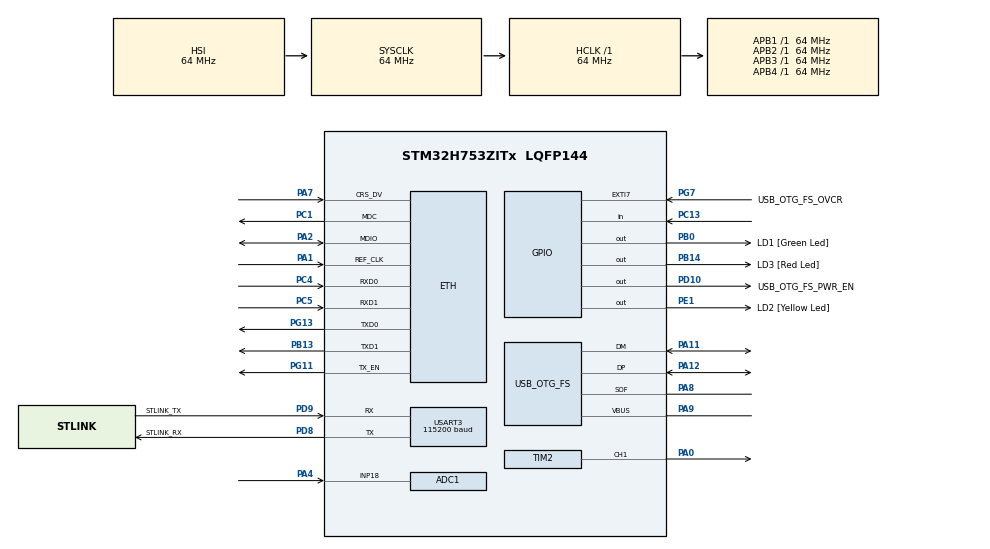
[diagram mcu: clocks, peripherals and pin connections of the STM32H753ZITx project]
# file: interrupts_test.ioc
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ADC1.Channel-4\#ChannelRegularConversion=ADC_CHANNEL_18
ADC1.ClockPrescaler=ADC_CLOCK_ASYNC_DIV4
ADC1.ExternalTrigConv=ADC_EXTERNALTRIG_T3_TRGO
ADC1.NbrOfConversionFlag=1
ADC1.OffsetNumber-4\#ChannelRegularConversion=ADC_OFFSET_NONE
ADC1.OffsetSignedSaturation-4\#ChannelRegularConversion=DISABLE
ADC1.Overrun=ADC_OVR_DATA_OVERWRITTEN
ADC1.Rank-4\#ChannelRegularConversion=1
ADC1.Resolution=ADC_RESOLUTION_8B
ADC1.SamplingTime-4\#ChannelRegularConversion=ADC_SAMPLETIME_1CYCLE_5
ADC1.master=1
CORTEX_M7.CPU_DCache=Disabled
CORTEX_M7.CPU_ICache=Disabled
CORTEX_M7.MPU_Control=__NULL
ETH.ETH_RX_DESC_CNT=4
ETH.ETH_TX_DESC_CNT=4
ETH.MACAddr=00\:80\:E1\:00\:00\:00
ETH.MediaInterface=HAL_ETH_RMII_MODE
ETH.RxBuffAddress=0x30040200
ETH.RxBuffLen=1524
ETH.RxDescAddress=0x30040000
ETH.TxDescAddress=0x30040060
Mcu.Family=STM32H7
Mcu.Name=STM32H753ZITx
Mcu.Package=LQFP144
NVIC.ADC_IRQn=true\:0\:0\:false\:false\:true\:true\:true\:true
NVIC.PriorityGroup=NVIC_PRIORITYGROUP_4
NVIC.TIM2_IRQn=true\:0\:0\:false\:false\:true\:true\:true\:true
NVIC.TIM6_DAC_IRQn=true\:0\:0\:false\:false\:true\:true\:true\:true
PA0.GPIO_Speed=GPIO_SPEED_FREQ_VERY_HIGH
PA0.Signal=S_TIM2_CH1_ETR
PA1.Mode=RMII
PA1.Signal=ETH_REF_CLK
PA11.Mode=Device_Only
PA11.Signal=USB_OTG_FS_DM
PA12.Mode=Device_Only
PA12.Signal=USB_OTG_FS_DP
PA2.Mode=RMII
PA2.Signal=ETH_MDIO
PA4.Signal=ADCx_INP18
PA7.Mode=RMII
PA7.Signal=ETH_CRS_DV
PA8.Mode=Activate_SOF_FS
PA8.Signal=USB_OTG_FS_SOF
PA9.Mode=Activate_VBUS
PA9.Signal=USB_OTG_FS_VBUS
PB0.GPIO_Label=LD1 [Green Led]
PB0.Signal=GPIO_Output
PB13.Mode=RMII
PB13.Signal=ETH_TXD1
PB14.GPIO_Label=LD3 [Red Led]
PB14.Signal=GPIO_Output
PC1.Mode=RMII
PC1.Signal=ETH_MDC
PC13.Signal=GPIO_Input
PC14-OSC32_IN\ (OSC32_IN).Mode=LSE-External-Oscillator
PC14-OSC32_IN\ (OSC32_IN).Signal=RCC_OSC32_IN
PC15-OSC32_OUT\ (OSC32_OUT).Mode=LSE-External-Oscillator
PC15-OSC32_OUT\ (OSC32_OUT).Signal=RCC_OSC32_OUT
PC4.Mode=RMII
PC4.Signal=ETH_RXD0
PC5.Mode=RMII
PC5.Signal=ETH_RXD1
PD10.GPIO_Label=USB_OTG_FS_PWR_EN
PD10.Signal=GPIO_Output
PD8.GPIO_Label=STLINK_RX
PD8.Mode=Asynchronous
PD8.Signal=USART3_TX
PD9.GPIO_Label=STLINK_TX
PD9.Mode=Asynchronous
PD9.Signal=USART3_RX
PE1.GPIO_Label=LD2 [Yellow Led]
PE1.Signal=GPIO_Output
PG11.Mode=RMII
PG11.Signal=ETH_TX_EN
PG13.Mode=RMII
PG13.Signal=ETH_TXD0
PG7.GPIO_Label=USB_OTG_FS_OVCR
PG7.Signal=GPXTI7
PH0-OSC_IN\ (PH0).Mode=HSE-External-Clock-Source
PH0-OSC_IN\ (PH0).Signal=RCC_OSC_IN
PH1-OSC_OUT\ (PH1).Signal=RCC_OSC_OUT
ProjectManager.HeapSize=0x200
ProjectManager.StackSize=0x400
ProjectManager.TargetToolchain=Makefile
RCC.ADCFreq_Value=76000000
RCC.APB1Freq_Value=64000000
RCC.APB2Freq_Value=64000000
RCC.APB3Freq_Value=64000000
RCC.APB4Freq_Value=64000000
RCC.CortexFreq_Value=64000000
RCC.DIVM1=1
RCC.DIVM2=1
RCC.DIVN1=24
RCC.DIVN2=19
RCC.DIVQ1=4
RCC.HCLKFreq_Value=64000000
RCC.HSE_VALUE=8000000
RCC.PLLFRACN=0
RCC.PWR_Regulator_Voltage_Scale=PWR_REGULATOR_VOLTAGE_SCALE2
RCC.SYSCLKFreq_VALUE=64000000
RCC.USBFreq_Value=48000000
SH.ADCx_INP18.0=ADC1_INP18,IN18-Single-Ended
SH.S_TIM2_CH1_ETR.0=TIM2_CH1,PWM Generation1 CH1
TIM2.AutoReloadPreload=TIM_AUTORELOAD_PRELOAD_DISABLE
TIM2.Channel-PWM\ Generation1\ CH1=TIM_CHANNEL_1
TIM2.Period=49
TIM2.Prescaler=6399
TIM2.Pulse-PWM\ Generation1\ CH1=25
TIM3.Period=999
TIM3.Prescaler=6399
TIM3.TIM_MasterOutputTrigger=TIM_TRGO_UPDATE
TIM3.TIM_MasterSlaveMode=TIM_MASTERSLAVEMODE_ENABLE
TIM6.Period=4999
TIM6.Prescaler=6399
USART3.AutoBaudRateEnableParam=UART_ADVFEATURE_AUTOBAUDRATE_DISABLE
USART3.BaudRate=115200
USART3.ClockPrescaler=PRESCALER_DIV1
USART3.DMADisableonRxErrorParam=ADVFEATURE_DMA_ENABLEONRXERROR
USART3.DataInvertParam=ADVFEATURE_DATAINV_DISABLE
USART3.FIFOMode=FIFOMODE_DISABLE
USART3.MSBFirstParam=ADVFEATURE_MSBFIRST_DISABLE
USART3.Mode=MODE_TX_RX
USART3.OneBitSampling=UART_ONE_BIT_SAMPLE_DISABLE
USART3.OverSampling=UART_OVERSAMPLING_16
USART3.OverrunDisableParam=ADVFEATURE_OVERRUN_ENABLE
USART3.Parity=PARITY_NONE
USART3.RXFIFOThreshold=RXFIFO_THRESHOLD_1EIGHTHFULL
USART3.RxPinLevelInvertParam=ADVFEATURE_RXINV_DISABLE
USART3.StopBits=STOPBITS_1
USART3.SwapParam=ADVFEATURE_SWAP_DISABLE
USART3.TXFIFOThreshold=TXFIFO_THRESHOLD_1EIGHTHFULL
USART3.TxPinLevelInvertParam=ADVFEATURE_TXINV_DISABLE
USART3.VirtualMode-Asynchronous=VM_ASYNC
USART3.WordLength=WORDLENGTH_8B
USB_OTG_FS.Sof_enable=ENABLE
USB_OTG_FS.VirtualMode=Device_Only
USB_OTG_FS.battery_charging_enable=ENABLE
USB_OTG_FS.low_power_enable=DISABLE
USB_OTG_FS.lpm_enable=DISABLE
USB_OTG_FS.use_dedicated_ep1=DISABLE
USB_OTG_FS.vbus_sensing_enable=ENABLE
VP_TIM2_VS_ClockSourceINT.Mode=Internal
VP_TIM3_VS_ClockSourceINT.Mode=Internal
VP_TIM6_VS_ClockSourceINT.Mode=Enable_Timer
board=NUCLEO-H753ZI

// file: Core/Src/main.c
/* USER CODE BEGIN Header */
/**
  ******************************************************************************
  * @file           : main.c
  * @brief          : Main program body
  ******************************************************************************
  * @attention
  *
  * Copyright (c) 2025 STMicroelectronics.
  * All rights reserved.
  *
  * This software is licensed under terms that can be found in the LICENSE file
  * in the root directory of this software component.
  * If no LICENSE file comes with this software, it is provided AS-IS.
  *
  ******************************************************************************
  */
/* USER CODE END Header */
#include "main.h"
#include "string.h"

/* USER CODE BEGIN Includes */
#include <stdint.h>
#include <stdbool.h>
/* USER CODE END Includes */

#if defined ( __ICCARM__ ) /*!< IAR Compiler */
#pragma location=0x30040000
ETH_DMADescTypeDef  DMARxDscrTab[ETH_RX_DESC_CNT]; /* Ethernet Rx DMA Descriptors */
#pragma location=0x30040060
ETH_DMADescTypeDef  DMATxDscrTab[ETH_TX_DESC_CNT]; /* Ethernet Tx DMA Descriptors */

#elif defined ( __CC_ARM )  /* MDK ARM Compiler */

__attribute__((at(0x30040000))) ETH_DMADescTypeDef  DMARxDscrTab[ETH_RX_DESC_CNT]; /* Ethernet Rx DMA Descriptors */
__attribute__((at(0x30040060))) ETH_DMADescTypeDef  DMATxDscrTab[ETH_TX_DESC_CNT]; /* Ethernet Tx DMA Descriptors */

#elif defined ( __GNUC__ ) /* GNU Compiler */

ETH_DMADescTypeDef DMARxDscrTab[ETH_RX_DESC_CNT] __attribute__((section(".RxDecripSection"))); /* Ethernet Rx DMA Descriptors */
ETH_DMADescTypeDef DMATxDscrTab[ETH_TX_DESC_CNT] __attribute__((section(".TxDecripSection")));   /* Ethernet Tx DMA Descriptors */
#endif

ETH_TxPacketConfig TxConfig;

ADC_HandleTypeDef hadc1;

ETH_HandleTypeDef heth;

TIM_HandleTypeDef htim2;
TIM_HandleTypeDef htim3;
TIM_HandleTypeDef htim6;

UART_HandleTypeDef huart3;

PCD_HandleTypeDef hpcd_USB_OTG_FS;

/* USER CODE BEGIN PV */
static uint8_t duty_cycle = 25;
/* USER CODE END PV */

void SystemClock_Config(void);
static void MX_GPIO_Init(void);
static void MX_ETH_Init(void);
static void MX_USART3_UART_Init(void);
static void MX_USB_OTG_FS_PCD_Init(void);
static void MX_TIM2_Init(void);
static void MX_TIM6_Init(void);
static void MX_ADC1_Init(void);
static void MX_TIM3_Init(void);

int main(void)
{

  /* MCU Configuration--------------------------------------------------------*/

  /* Reset of all peripherals, Initializes the Flash interface and the Systick. */
  HAL_Init();

  /* Configure the system clock */
  SystemClock_Config();

  /* Initialize all configured peripherals */
  MX_GPIO_Init();
  MX_ETH_Init();
  MX_USART3_UART_Init();
  MX_USB_OTG_FS_PCD_Init();
  MX_TIM2_Init();
  MX_TIM6_Init();
  MX_ADC1_Init();
  MX_TIM3_Init();
  /* USER CODE BEGIN 2 */
  HAL_TIM_Base_Start_IT(&htim6);
  HAL_TIM_PWM_Start(&htim2, TIM_CHANNEL_1);

  HAL_ADCEx_Calibration_Start(&hadc1, ADC_CALIB_OFFSET, ADC_SINGLE_ENDED);
  HAL_StatusTypeDef rc = HAL_ADC_Start_IT(&hadc1);
  while (rc != HAL_OK) {
    rc = HAL_ADC_Start_IT(&hadc1);
  }

  HAL_TIM_Base_Start(&htim3);
  /* USER CODE END 2 */

  /* Infinite loop */
  while (1)
  {

  }
}

void SystemClock_Config(void)
{
  RCC_OscInitTypeDef RCC_OscInitStruct = {0};
  RCC_ClkInitTypeDef RCC_ClkInitStruct = {0};

  /** Supply configuration update enable
  */
  HAL_PWREx_ConfigSupply(PWR_LDO_SUPPLY);

  /** Configure the main internal regulator output voltage
  */
  __HAL_PWR_VOLTAGESCALING_CONFIG(PWR_REGULATOR_VOLTAGE_SCALE2);

  while(!__HAL_PWR_GET_FLAG(PWR_FLAG_VOSRDY)) {}

  /** Initializes the RCC Oscillators according to the specified parameters
  * in the RCC_OscInitTypeDef structure.
  */
  RCC_OscInitStruct.OscillatorType = RCC_OSCILLATORTYPE_HSI|RCC_OSCILLATORTYPE_HSE;
  RCC_OscInitStruct.HSEState = RCC_HSE_BYPASS;
  RCC_OscInitStruct.HSIState = RCC_HSI_DIV1;
  RCC_OscInitStruct.HSICalibrationValue = RCC_HSICALIBRATION_DEFAULT;
  RCC_OscInitStruct.PLL.PLLState = RCC_PLL_ON;
  RCC_OscInitStruct.PLL.PLLSource = RCC_PLLSOURCE_HSE;
  RCC_OscInitStruct.PLL.PLLM = 1;
  RCC_OscInitStruct.PLL.PLLN = 24;
  RCC_OscInitStruct.PLL.PLLP = 2;
  RCC_OscInitStruct.PLL.PLLQ = 4;
  RCC_OscInitStruct.PLL.PLLR = 2;
  RCC_OscInitStruct.PLL.PLLRGE = RCC_PLL1VCIRANGE_3;
  RCC_OscInitStruct.PLL.PLLVCOSEL = RCC_PLL1VCOWIDE;
  RCC_OscInitStruct.PLL.PLLFRACN = 0;
  if (HAL_RCC_OscConfig(&RCC_OscInitStruct) != HAL_OK)
  {
    Error_Handler();
  }

  /** Initializes the CPU, AHB and APB buses clocks
  */
  RCC_ClkInitStruct.ClockType = RCC_CLOCKTYPE_HCLK|RCC_CLOCKTYPE_SYSCLK
                              |RCC_CLOCKTYPE_PCLK1|RCC_CLOCKTYPE_PCLK2
                              |RCC_CLOCKTYPE_D3PCLK1|RCC_CLOCKTYPE_D1PCLK1;
  RCC_ClkInitStruct.SYSCLKSource = RCC_SYSCLKSOURCE_HSI;
  RCC_ClkInitStruct.SYSCLKDivider = RCC_SYSCLK_DIV1;
  RCC_ClkInitStruct.AHBCLKDivider = RCC_HCLK_DIV1;
  RCC_ClkInitStruct.APB3CLKDivider = RCC_APB3_DIV1;
  RCC_ClkInitStruct.APB1CLKDivider = RCC_APB1_DIV1;
  RCC_ClkInitStruct.APB2CLKDivider = RCC_APB2_DIV1;
  RCC_ClkInitStruct.APB4CLKDivider = RCC_APB4_DIV1;

  if (HAL_RCC_ClockConfig(&RCC_ClkInitStruct, FLASH_LATENCY_1) != HAL_OK)
  {
    Error_Handler();
  }
}

static void MX_ADC1_Init(void)
{

  ADC_MultiModeTypeDef multimode = {0};
  ADC_ChannelConfTypeDef sConfig = {0};

  /** Common config
  */
  hadc1.Instance = ADC1;
  hadc1.Init.ClockPrescaler = ADC_CLOCK_ASYNC_DIV4;
  hadc1.Init.Resolution = ADC_RESOLUTION_8B;
  hadc1.Init.ScanConvMode = ADC_SCAN_DISABLE;
  hadc1.Init.EOCSelection = ADC_EOC_SINGLE_CONV;
  hadc1.Init.LowPowerAutoWait = DISABLE;
  hadc1.Init.ContinuousConvMode = DISABLE;
  hadc1.Init.NbrOfConversion = 1;
  hadc1.Init.DiscontinuousConvMode = DISABLE;
  hadc1.Init.ExternalTrigConv = ADC_EXTERNALTRIG_T3_TRGO;
  hadc1.Init.ExternalTrigConvEdge = ADC_EXTERNALTRIGCONVEDGE_RISING;
  hadc1.Init.ConversionDataManagement = ADC_CONVERSIONDATA_DR;
  hadc1.Init.Overrun = ADC_OVR_DATA_OVERWRITTEN;
  hadc1.Init.LeftBitShift = ADC_LEFTBITSHIFT_NONE;
  hadc1.Init.OversamplingMode = DISABLE;
  if (HAL_ADC_Init(&hadc1) != HAL_OK)
  {
    Error_Handler();
  }

  /** Configure the ADC multi-mode
  */
  multimode.Mode = ADC_MODE_INDEPENDENT;
  if (HAL_ADCEx_MultiModeConfigChannel(&hadc1, &multimode) != HAL_OK)
  {
    Error_Handler();
  }

  /** Configure Regular Channel
  */
  sConfig.Channel = ADC_CHANNEL_18;
  sConfig.Rank = ADC_REGULAR_RANK_1;
  sConfig.SamplingTime = ADC_SAMPLETIME_1CYCLE_5;
  sConfig.SingleDiff = ADC_SINGLE_ENDED;
  sConfig.OffsetNumber = ADC_OFFSET_NONE;
  sConfig.Offset = 0;
  sConfig.OffsetSignedSaturation = DISABLE;
  if (HAL_ADC_ConfigChannel(&hadc1, &sConfig) != HAL_OK)
  {
    Error_Handler();
  }

}

static void MX_ETH_Init(void)
{

   static uint8_t MACAddr[6];

  heth.Instance = ETH;
  MACAddr[0] = 0x00;
  MACAddr[1] = 0x80;
  MACAddr[2] = 0xE1;
  MACAddr[3] = 0x00;
  MACAddr[4] = 0x00;
  MACAddr[5] = 0x00;
  heth.Init.MACAddr = &MACAddr[0];
  heth.Init.MediaInterface = HAL_ETH_RMII_MODE;
  heth.Init.TxDesc = DMATxDscrTab;
  heth.Init.RxDesc = DMARxDscrTab;
  heth.Init.RxBuffLen = 1524;

  if (HAL_ETH_Init(&heth) != HAL_OK)
  {
    Error_Handler();
  }

  memset(&TxConfig, 0 , sizeof(ETH_TxPacketConfig));
  TxConfig.Attributes = ETH_TX_PACKETS_FEATURES_CSUM | ETH_TX_PACKETS_FEATURES_CRCPAD;
  TxConfig.ChecksumCtrl = ETH_CHECKSUM_IPHDR_PAYLOAD_INSERT_PHDR_CALC;
  TxConfig.CRCPadCtrl = ETH_CRC_PAD_INSERT;

}

static void MX_TIM2_Init(void)
{

  TIM_ClockConfigTypeDef sClockSourceConfig = {0};
  TIM_MasterConfigTypeDef sMasterConfig = {0};
  TIM_OC_InitTypeDef sConfigOC = {0};

  htim2.Instance = TIM2;
  htim2.Init.Prescaler = 6399;
  htim2.Init.CounterMode = TIM_COUNTERMODE_UP;
  htim2.Init.Period = 49;
  htim2.Init.ClockDivision = TIM_CLOCKDIVISION_DIV1;
  htim2.Init.AutoReloadPreload = TIM_AUTORELOAD_PRELOAD_DISABLE;
  if (HAL_TIM_Base_Init(&htim2) != HAL_OK)
  {
    Error_Handler();
  }
  sClockSourceConfig.ClockSource = TIM_CLOCKSOURCE_INTERNAL;
  if (HAL_TIM_ConfigClockSource(&htim2, &sClockSourceConfig) != HAL_OK)
  {
    Error_Handler();
  }
  if (HAL_TIM_PWM_Init(&htim2) != HAL_OK)
  {
    Error_Handler();
  }
  sMasterConfig.MasterOutputTrigger = TIM_TRGO_RESET;
  sMasterConfig.MasterSlaveMode = TIM_MASTERSLAVEMODE_DISABLE;
  if (HAL_TIMEx_MasterConfigSynchronization(&htim2, &sMasterConfig) != HAL_OK)
  {
    Error_Handler();
  }
  sConfigOC.OCMode = TIM_OCMODE_PWM1;
  sConfigOC.Pulse = 25;
  sConfigOC.OCPolarity = TIM_OCPOLARITY_HIGH;
  sConfigOC.OCFastMode = TIM_OCFAST_DISABLE;
  if (HAL_TIM_PWM_ConfigChannel(&htim2, &sConfigOC, TIM_CHANNEL_1) != HAL_OK)
  {
    Error_Handler();
  }
  HAL_TIM_MspPostInit(&htim2);

}

static void MX_TIM3_Init(void)
{

  TIM_ClockConfigTypeDef sClockSourceConfig = {0};
  TIM_MasterConfigTypeDef sMasterConfig = {0};

  htim3.Instance = TIM3;
  htim3.Init.Prescaler = 6399;
  htim3.Init.CounterMode = TIM_COUNTERMODE_UP;
  htim3.Init.Period = 999;
  htim3.Init.ClockDivision = TIM_CLOCKDIVISION_DIV1;
  htim3.Init.AutoReloadPreload = TIM_AUTORELOAD_PRELOAD_DISABLE;
  if (HAL_TIM_Base_Init(&htim3) != HAL_OK)
  {
    Error_Handler();
  }
  sClockSourceConfig.ClockSource = TIM_CLOCKSOURCE_INTERNAL;
  if (HAL_TIM_ConfigClockSource(&htim3, &sClockSourceConfig) != HAL_OK)
  {
    Error_Handler();
  }
  sMasterConfig.MasterOutputTrigger = TIM_TRGO_UPDATE;
  sMasterConfig.MasterSlaveMode = TIM_MASTERSLAVEMODE_ENABLE;
  if (HAL_TIMEx_MasterConfigSynchronization(&htim3, &sMasterConfig) != HAL_OK)
  {
    Error_Handler();
  }

}

static void MX_TIM6_Init(void)
{

  TIM_MasterConfigTypeDef sMasterConfig = {0};

  htim6.Instance = TIM6;
  htim6.Init.Prescaler = 6399;
  htim6.Init.CounterMode = TIM_COUNTERMODE_UP;
  htim6.Init.Period = 4999;
  htim6.Init.AutoReloadPreload = TIM_AUTORELOAD_PRELOAD_DISABLE;
  if (HAL_TIM_Base_Init(&htim6) != HAL_OK)
  {
    Error_Handler();
  }
  sMasterConfig.MasterOutputTrigger = TIM_TRGO_RESET;
  sMasterConfig.MasterSlaveMode = TIM_MASTERSLAVEMODE_DISABLE;
  if (HAL_TIMEx_MasterConfigSynchronization(&htim6, &sMasterConfig) != HAL_OK)
  {
    Error_Handler();
  }

}

static void MX_USART3_UART_Init(void)
{

  huart3.Instance = USART3;
  huart3.Init.BaudRate = 115200;
  huart3.Init.WordLength = UART_WORDLENGTH_8B;
  huart3.Init.StopBits = UART_STOPBITS_1;
  huart3.Init.Parity = UART_PARITY_NONE;
  huart3.Init.Mode = UART_MODE_TX_RX;
  huart3.Init.HwFlowCtl = UART_HWCONTROL_NONE;
  huart3.Init.OverSampling = UART_OVERSAMPLING_16;
  huart3.Init.OneBitSampling = UART_ONE_BIT_SAMPLE_DISABLE;
  huart3.Init.ClockPrescaler = UART_PRESCALER_DIV1;
  huart3.AdvancedInit.AdvFeatureInit = UART_ADVFEATURE_NO_INIT;
  if (HAL_UART_Init(&huart3) != HAL_OK)
  {
    Error_Handler();
  }
  if (HAL_UARTEx_SetTxFifoThreshold(&huart3, UART_TXFIFO_THRESHOLD_1_8) != HAL_OK)
  {
    Error_Handler();
  }
  if (HAL_UARTEx_SetRxFifoThreshold(&huart3, UART_RXFIFO_THRESHOLD_1_8) != HAL_OK)
  {
    Error_Handler();
  }
  if (HAL_UARTEx_DisableFifoMode(&huart3) != HAL_OK)
  {
    Error_Handler();
  }

}

static void MX_USB_OTG_FS_PCD_Init(void)
{

  hpcd_USB_OTG_FS.Instance = USB_OTG_FS;
  hpcd_USB_OTG_FS.Init.dev_endpoints = 9;
  hpcd_USB_OTG_FS.Init.speed = PCD_SPEED_FULL;
  hpcd_USB_OTG_FS.Init.dma_enable = DISABLE;
  hpcd_USB_OTG_FS.Init.phy_itface = PCD_PHY_EMBEDDED;
  hpcd_USB_OTG_FS.Init.Sof_enable = ENABLE;
  hpcd_USB_OTG_FS.Init.low_power_enable = DISABLE;
  hpcd_USB_OTG_FS.Init.lpm_enable = DISABLE;
  hpcd_USB_OTG_FS.Init.battery_charging_enable = ENABLE;
  hpcd_USB_OTG_FS.Init.vbus_sensing_enable = ENABLE;
  hpcd_USB_OTG_FS.Init.use_dedicated_ep1 = DISABLE;
  if (HAL_PCD_Init(&hpcd_USB_OTG_FS) != HAL_OK)
  {
    Error_Handler();
  }

}

static void MX_GPIO_Init(void)
{
  GPIO_InitTypeDef GPIO_InitStruct = {0};

  /* GPIO Ports Clock Enable */
  __HAL_RCC_GPIOC_CLK_ENABLE();
  __HAL_RCC_GPIOH_CLK_ENABLE();
  __HAL_RCC_GPIOA_CLK_ENABLE();
  __HAL_RCC_GPIOB_CLK_ENABLE();
  __HAL_RCC_GPIOD_CLK_ENABLE();
  __HAL_RCC_GPIOG_CLK_ENABLE();
  __HAL_RCC_GPIOE_CLK_ENABLE();

  /*Configure GPIO pin Output Level */
  HAL_GPIO_WritePin(GPIOB, LD1_Pin|LD3_Pin, GPIO_PIN_RESET);

  /*Configure GPIO pin Output Level */
  HAL_GPIO_WritePin(USB_OTG_FS_PWR_EN_GPIO_Port, USB_OTG_FS_PWR_EN_Pin, GPIO_PIN_RESET);

  /*Configure GPIO pin Output Level */
  HAL_GPIO_WritePin(LD2_GPIO_Port, LD2_Pin, GPIO_PIN_RESET);

  /*Configure GPIO pin : PC13 */
  GPIO_InitStruct.Pin = GPIO_PIN_13;
  GPIO_InitStruct.Mode = GPIO_MODE_INPUT;
  GPIO_InitStruct.Pull = GPIO_NOPULL;
  HAL_GPIO_Init(GPIOC, &GPIO_InitStruct);

  /*Configure GPIO pins : LD1_Pin LD3_Pin */
  GPIO_InitStruct.Pin = LD1_Pin|LD3_Pin;
  GPIO_InitStruct.Mode = GPIO_MODE_OUTPUT_PP;
  GPIO_InitStruct.Pull = GPIO_NOPULL;
  GPIO_InitStruct.Speed = GPIO_SPEED_FREQ_LOW;
  HAL_GPIO_Init(GPIOB, &GPIO_InitStruct);

  /*Configure GPIO pin : USB_OTG_FS_PWR_EN_Pin */
  GPIO_InitStruct.Pin = USB_OTG_FS_PWR_EN_Pin;
  GPIO_InitStruct.Mode = GPIO_MODE_OUTPUT_PP;
  GPIO_InitStruct.Pull = GPIO_NOPULL;
  GPIO_InitStruct.Speed = GPIO_SPEED_FREQ_LOW;
  HAL_GPIO_Init(USB_OTG_FS_PWR_EN_GPIO_Port, &GPIO_InitStruct);

  /*Configure GPIO pin : USB_OTG_FS_OVCR_Pin */
  GPIO_InitStruct.Pin = USB_OTG_FS_OVCR_Pin;
  GPIO_InitStruct.Mode = GPIO_MODE_IT_RISING;
  GPIO_InitStruct.Pull = GPIO_NOPULL;
  HAL_GPIO_Init(USB_OTG_FS_OVCR_GPIO_Port, &GPIO_InitStruct);

  /*Configure GPIO pin : LD2_Pin */
  GPIO_InitStruct.Pin = LD2_Pin;
  GPIO_InitStruct.Mode = GPIO_MODE_OUTPUT_PP;
  GPIO_InitStruct.Pull = GPIO_NOPULL;
  GPIO_InitStruct.Speed = GPIO_SPEED_FREQ_LOW;
  HAL_GPIO_Init(LD2_GPIO_Port, &GPIO_InitStruct);

}

/* USER CODE BEGIN 4 */
/**
 * Set the PWD duty cycle (0 - 100).
 *
 */
static HAL_StatusTypeDef set_duty_cycle(uint8_t dc)
{
  if (dc > 100) {
    return HAL_ERROR;
  }

  __disable_irq();

  // The timer is configured so that a value of 50 in the CCR
  // register leads to a 100% duty cycle. Thus, divide dc, which is
  // [0-100] by 2 to get [0-50].
  dc /= 2;

  __HAL_TIM_SET_COMPARE(&htim2, TIM_CHANNEL_1, dc);

  duty_cycle = dc;
  __enable_irq();

  return HAL_OK;
}

static uint8_t get_duty_cycle(void)
{
  __disable_irq();
  uint8_t val = duty_cycle * 2;
  __enable_irq();
  return val;
}

static uint8_t adc_to_duty_cycle(uint8_t adc_val)
{
  // The ADC range is [0, ~2] V, which in raw ADC values is
  // [0, ~150]. That needs to be parsed to [0-100] because a PWM
  // duty cycle is 0 to 100%. Thus, [0-150] needs to be multplied
  // by 1.5 or 3/2.
  return (adc_val / 3) * 2;
}

static bool adc_val_within_range(uint8_t adc_val)
{
  // The ADC input range is [0, 3.3V]
  // ADC data size is configured as 8 bits. So, each ADC unit represents
  // 3.3 / 255 ~ 13 mV.
  // The expected input range for this application is [~0, ~2] V, so the
  // allowed range in terms of raw ADC values is:
  const uint8_t lower_threshold = 0;
  const uint8_t higher_threshold = 150;     // 2 / 13e-3   ~ 150

  return (adc_val >= lower_threshold) && (adc_val <= higher_threshold);
}

void HAL_TIM_PeriodElapsedCallback(TIM_HandleTypeDef *htim)
{
  if (htim->Instance == TIM6)
  {
    if (get_duty_cycle() > 90)
    {
      HAL_GPIO_TogglePin(LD3_GPIO_Port, LD3_Pin);
    }
    else
    {
      HAL_GPIO_WritePin(LD3_GPIO_Port, LD3_Pin, GPIO_PIN_RESET);
    }
  }
}

void HAL_ADC_ConvCpltCallback(ADC_HandleTypeDef *hadc)
{
  if (hadc->Instance == ADC1) {
    uint32_t adc_value = HAL_ADC_GetValue(&hadc1);
    if (!adc_val_within_range((uint8_t)adc_value)) {
      return;
    }

    uint8_t curr_duty_cycle = get_duty_cycle();
    uint8_t new_duty_cycle = adc_to_duty_cycle(adc_value);

    // Avoid the PWM signal to "flicker"
    if (abs(new_duty_cycle - curr_duty_cycle) < 4) {
      return;
    }

    set_duty_cycle(adc_to_duty_cycle(adc_value));
  }
}
/* USER CODE END 4 */

void Error_Handler(void)
{
  __disable_irq();
  while (1)
  {
  }
}
